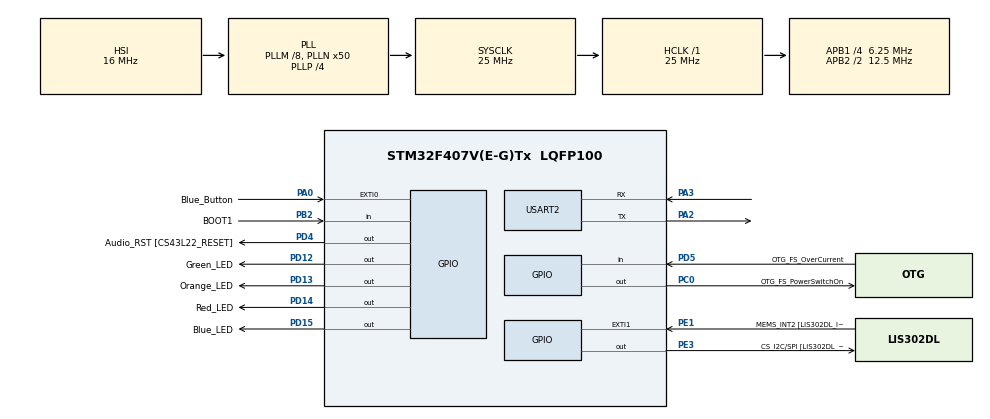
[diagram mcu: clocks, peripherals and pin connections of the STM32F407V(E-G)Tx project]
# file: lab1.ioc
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Mcu.Family=STM32F4
Mcu.Name=STM32F407V(E-G)Tx
Mcu.Package=LQFP100
NVIC.PriorityGroup=NVIC_PRIORITYGROUP_4
NVIC.TIM7_IRQn=true\:0\:0\:false\:false\:true\:false\:true\:true
NVIC.TimeBase=TIM7_IRQn
NVIC.TimeBaseIP=TIM7
PA0-WKUP.GPIO_Label=Blue_Button
PA0-WKUP.Signal=GPXTI0
PA10.GPIO_Label=OTG_FS_ID
PA10.GPIO_Mode=GPIO_MODE_AF_PP
PA10.GPIO_PuPd=GPIO_NOPULL
PA10.GPIO_Speed=GPIO_SPEED_FREQ_LOW
PA10.Signal=USB_OTG_FS_ID
PA11.GPIO_Label=OTG_FS_DM
PA11.GPIO_Mode=GPIO_MODE_AF_PP
PA11.GPIO_PuPd=GPIO_NOPULL
PA11.GPIO_Speed=GPIO_SPEED_FREQ_LOW
PA11.Signal=USB_OTG_FS_DM
PA12.GPIO_Label=OTG_FS_DP
PA12.GPIO_Mode=GPIO_MODE_AF_PP
PA12.GPIO_PuPd=GPIO_NOPULL
PA12.GPIO_Speed=GPIO_SPEED_FREQ_LOW
PA12.Signal=USB_OTG_FS_DP
PA13.GPIO_Label=SWDIO
PA13.Mode=Serial_Wire
PA13.Signal=SYS_JTMS-SWDIO
PA14.GPIO_Label=SWCLK
PA14.Mode=Serial_Wire
PA14.Signal=SYS_JTCK-SWCLK
PA2.Mode=Asynchronous
PA2.Signal=USART2_TX
PA3.Mode=Asynchronous
PA3.Signal=USART2_RX
PA4.GPIO_Label=I2S3_WS [CS43L22_LRCK]
PA4.GPIO_Mode=GPIO_MODE_AF_PP
PA4.GPIO_PuPd=GPIO_NOPULL
PA4.GPIO_Speed=GPIO_SPEED_FREQ_LOW
PA4.Signal=I2S3_WS
PA5.GPIO_Label=SPI1_SCK [LIS302DL_SCL/SPC]
PA5.GPIO_Mode=GPIO_MODE_AF_PP
PA5.GPIO_PuPd=GPIO_NOPULL
PA5.GPIO_Speed=GPIO_SPEED_FREQ_LOW
PA5.Signal=SPI1_SCK
PA6.GPIO_Label=SPI1_MISO [LIS302DL_SDO]
PA6.GPIO_Mode=GPIO_MODE_AF_PP
PA6.GPIO_PuPd=GPIO_NOPULL
PA6.GPIO_Speed=GPIO_SPEED_FREQ_LOW
PA6.Signal=SPI1_MISO
PA7.GPIO_Label=SPI1_MOSI [LIS302DL_SDA/SDI/SDO]
PA7.GPIO_Mode=GPIO_MODE_AF_PP
PA7.GPIO_PuPd=GPIO_NOPULL
PA7.GPIO_Speed=GPIO_SPEED_FREQ_LOW
PA7.Signal=SPI1_MOSI
PA9.GPIO_Label=VBUS_FS
PA9.GPIO_Mode=GPIO_MODE_INPUT
PA9.GPIO_PuPd=GPIO_NOPULL
PA9.Signal=USB_OTG_FS_VBUS
PB10.GPIO_Label=CLK_IN [MP45DT02_CLK]
PB10.GPIO_Mode=GPIO_MODE_AF_PP
PB10.GPIO_PuPd=GPIO_NOPULL
PB10.GPIO_Speed=GPIO_SPEED_FREQ_LOW
PB10.Signal=I2S2_CK
PB2.GPIO_Label=BOOT1
PB2.GPIO_Mode=GPIO_MODE_INPUT
PB2.GPIO_PuPd=GPIO_NOPULL
PB2.Signal=GPIO_Input
PB3.GPIO_Label=SWO
PB3.Signal=SYS_JTDO-SWO
PB6.GPIO_Label=Audio_SCL [CS43L22_SCL]
PB6.GPIO_Mode=GPIO_MODE_AF_OD
PB6.GPIO_PuPd=GPIO_NOPULL
PB6.GPIO_Speed=GPIO_SPEED_FREQ_LOW
PB6.Signal=I2C1_SCL
PB9.GPIO_Label=Audio_SDA [CS43L22_SDA]
PB9.GPIO_Mode=GPIO_MODE_AF_OD
PB9.GPIO_PuPd=GPIO_NOPULL
PB9.GPIO_Speed=GPIO_SPEED_FREQ_LOW
PB9.Signal=I2C1_SDA
PC0.GPIO_Label=OTG_FS_PowerSwitchOn
PC0.GPIO_PuPd=GPIO_NOPULL
PC0.GPIO_Speed=GPIO_SPEED_FREQ_LOW
PC0.PinState=GPIO_PIN_SET
PC0.Signal=GPIO_Output
PC10.GPIO_Label=I2S3_SCK [CS43L22_SCLK]
PC10.GPIO_Mode=GPIO_MODE_AF_PP
PC10.GPIO_PuPd=GPIO_NOPULL
PC10.GPIO_Speed=GPIO_SPEED_FREQ_LOW
PC10.Signal=I2S3_CK
PC12.GPIO_Label=I2S3_SD [CS43L22_SDIN]
PC12.GPIO_Mode=GPIO_MODE_AF_PP
PC12.GPIO_PuPd=GPIO_NOPULL
PC12.GPIO_Speed=GPIO_SPEED_FREQ_LOW
PC12.Signal=I2S3_SD
PC14-OSC32_IN.GPIO_Label=PC14-OSC32_IN
PC14-OSC32_IN.Signal=RCC_OSC32_IN
PC15-OSC32_OUT.GPIO_Label=PC15-OSC32_OUT
PC15-OSC32_OUT.Signal=RCC_OSC32_OUT
PC3.GPIO_Label=PDM_OUT [MP45DT02_DOUT]
PC3.GPIO_Mode=GPIO_MODE_AF_PP
PC3.GPIO_PuPd=GPIO_NOPULL
PC3.GPIO_Speed=GPIO_SPEED_FREQ_LOW
PC3.Signal=I2S2_SD
PC7.GPIO_Label=I2S3_MCK [CS43L22_MCLK]
PC7.GPIO_Mode=GPIO_MODE_AF_PP
PC7.GPIO_PuPd=GPIO_NOPULL
PC7.GPIO_Speed=GPIO_SPEED_FREQ_LOW
PC7.Signal=I2S3_MCK
PD12.GPIO_Label=Green_LED
PD12.GPIO_PuPd=GPIO_NOPULL
PD12.GPIO_Speed=GPIO_SPEED_FREQ_LOW
PD12.Signal=GPIO_Output
PD13.GPIO_Label=Orange_LED
PD13.GPIO_PuPd=GPIO_NOPULL
PD13.GPIO_Speed=GPIO_SPEED_FREQ_LOW
PD13.Signal=GPIO_Output
PD14.GPIO_Label=Red_LED
PD14.GPIO_PuPd=GPIO_NOPULL
PD14.GPIO_Speed=GPIO_SPEED_FREQ_LOW
PD14.Signal=GPIO_Output
PD15.GPIO_Label=Blue_LED
PD15.GPIO_PuPd=GPIO_NOPULL
PD15.GPIO_Speed=GPIO_SPEED_FREQ_LOW
PD15.Signal=GPIO_Output
PD4.GPIO_Label=Audio_RST [CS43L22_RESET]
PD4.GPIO_PuPd=GPIO_NOPULL
PD4.GPIO_Speed=GPIO_SPEED_FREQ_LOW
PD4.Signal=GPIO_Output
PD5.GPIO_Label=OTG_FS_OverCurrent
PD5.GPIO_Mode=GPIO_MODE_INPUT
PD5.GPIO_PuPd=GPIO_NOPULL
PD5.Signal=GPIO_Input
PE1.GPIO_Label=MEMS_INT2 [LIS302DL_INT2]
PE1.GPIO_ModeDefaultEXTI=GPIO_MODE_EVT_RISING
PE1.GPIO_PuPd=GPIO_NOPULL
PE1.Signal=GPXTI1
PE3.GPIO_Label=CS_I2C/SPI [LIS302DL_CS_I2C/SPI]
PE3.GPIO_PuPd=GPIO_NOPULL
PE3.GPIO_Speed=GPIO_SPEED_FREQ_LOW
PE3.Signal=GPIO_Output
PH0-OSC_IN.GPIO_Label=PH0-OSC_IN
PH0-OSC_IN.Signal=RCC_OSC_IN
PH1-OSC_OUT.GPIO_Label=PH1-OSC_OUT
PH1-OSC_OUT.Signal=RCC_OSC_OUT
ProjectManager.HeapSize=0x200
ProjectManager.StackSize=0x400
ProjectManager.TargetToolchain=STM32CubeIDE
RCC.48MHZClocksFreq_Value=14285714.285714285
RCC.AHBFreq_Value=25000000
RCC.APB1CLKDivider=RCC_HCLK_DIV4
RCC.APB1Freq_Value=6250000
RCC.APB1TimFreq_Value=12500000
RCC.APB2CLKDivider=RCC_HCLK_DIV2
RCC.APB2Freq_Value=12500000
RCC.APB2TimFreq_Value=25000000
RCC.CortexFreq_Value=25000000
RCC.HCLKFreq_Value=25000000
RCC.HSE_VALUE=8000000
RCC.HSI_VALUE=16000000
RCC.LSE_VALUE=32768
RCC.PLLM=8
RCC.PLLN=50
RCC.PLLP=RCC_PLLP_DIV4
RCC.PLLQ=7
RCC.SYSCLKFreq_VALUE=25000000
RCC.SYSCLKSource=RCC_SYSCLKSOURCE_PLLCLK
RCC.VCOOutputFreq_Value=100000000
USART2.VirtualMode=VM_ASYNC
VP_SYS_VS_tim7.Mode=TIM7
board=STM32F407G-DISC1

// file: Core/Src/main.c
/* USER CODE BEGIN Header */
/**
  ******************************************************************************
  * @file           : main.c
  * @brief          : Main program body
  ******************************************************************************
  * @attention
  *
  * Copyright (c) 2023 STMicroelectronics.
  * All rights reserved.
  *
  * This software is licensed under terms that can be found in the LICENSE file
  * in the root directory of this software component.
  * If no LICENSE file comes with this software, it is provided AS-IS.
  *
  ******************************************************************************
  */
/* USER CODE END Header */
#include "main.h"

/* USER CODE BEGIN Includes */
#include "FreeRTOS.h"
#include "task.h"
#include "queue.h"
#include "string.h"
/* USER CODE END Includes */

UART_HandleTypeDef huart2;

void SystemClock_Config(void);
static void MX_GPIO_Init(void);
static void MX_USART2_UART_Init(void);
/* USER CODE BEGIN PFP */
void vButtonHandler(void *pvParameters);
void vLEDHandler(void *pvParameters);

/* USER CODE END PFP */

/* USER CODE BEGIN 0 */
QueueHandle_t xQueue;
/* USER CODE END 0 */

int main(void)
{

  /* MCU Configuration--------------------------------------------------------*/

  /* Reset of all peripherals, Initializes the Flash interface and the Systick. */
  HAL_Init();

  /* Configure the system clock */
  SystemClock_Config();

  /* Initialize all configured peripherals */
  MX_GPIO_Init();
  MX_USART2_UART_Init();
  /* USER CODE BEGIN 2 */
  xQueue = xQueueCreate(1, sizeof(int));

  xTaskCreate(vLEDHandler, "LED", 128, NULL, 1, NULL);
  xTaskCreate(vButtonHandler, "BUTTON", 128, NULL, 1, NULL);
  vTaskStartScheduler();
  /* USER CODE END 2 */

  /* Infinite loop */
  while (1)
  {

  }
}

void SystemClock_Config(void)
{
  RCC_OscInitTypeDef RCC_OscInitStruct = {0};
  RCC_ClkInitTypeDef RCC_ClkInitStruct = {0};

  /** Configure the main internal regulator output voltage
  */
  __HAL_RCC_PWR_CLK_ENABLE();
  __HAL_PWR_VOLTAGESCALING_CONFIG(PWR_REGULATOR_VOLTAGE_SCALE1);

  /** Initializes the RCC Oscillators according to the specified parameters
  * in the RCC_OscInitTypeDef structure.
  */
  RCC_OscInitStruct.OscillatorType = RCC_OSCILLATORTYPE_HSI;
  RCC_OscInitStruct.HSIState = RCC_HSI_ON;
  RCC_OscInitStruct.HSICalibrationValue = RCC_HSICALIBRATION_DEFAULT;
  RCC_OscInitStruct.PLL.PLLState = RCC_PLL_ON;
  RCC_OscInitStruct.PLL.PLLSource = RCC_PLLSOURCE_HSI;
  RCC_OscInitStruct.PLL.PLLM = 8;
  RCC_OscInitStruct.PLL.PLLN = 50;
  RCC_OscInitStruct.PLL.PLLP = RCC_PLLP_DIV4;
  RCC_OscInitStruct.PLL.PLLQ = 7;
  if (HAL_RCC_OscConfig(&RCC_OscInitStruct) != HAL_OK)
  {
    Error_Handler();
  }

  /** Initializes the CPU, AHB and APB buses clocks
  */
  RCC_ClkInitStruct.ClockType = RCC_CLOCKTYPE_HCLK|RCC_CLOCKTYPE_SYSCLK
                              |RCC_CLOCKTYPE_PCLK1|RCC_CLOCKTYPE_PCLK2;
  RCC_ClkInitStruct.SYSCLKSource = RCC_SYSCLKSOURCE_PLLCLK;
  RCC_ClkInitStruct.AHBCLKDivider = RCC_SYSCLK_DIV1;
  RCC_ClkInitStruct.APB1CLKDivider = RCC_HCLK_DIV4;
  RCC_ClkInitStruct.APB2CLKDivider = RCC_HCLK_DIV2;

  if (HAL_RCC_ClockConfig(&RCC_ClkInitStruct, FLASH_LATENCY_0) != HAL_OK)
  {
    Error_Handler();
  }
}

static void MX_USART2_UART_Init(void)
{

  huart2.Instance = USART2;
  huart2.Init.BaudRate = 115200;
  huart2.Init.WordLength = UART_WORDLENGTH_8B;
  huart2.Init.StopBits = UART_STOPBITS_1;
  huart2.Init.Parity = UART_PARITY_NONE;
  huart2.Init.Mode = UART_MODE_TX_RX;
  huart2.Init.HwFlowCtl = UART_HWCONTROL_NONE;
  huart2.Init.OverSampling = UART_OVERSAMPLING_16;
  if (HAL_UART_Init(&huart2) != HAL_OK)
  {
    Error_Handler();
  }

}

static void MX_GPIO_Init(void)
{
  GPIO_InitTypeDef GPIO_InitStruct = {0};

  /* GPIO Ports Clock Enable */
  __HAL_RCC_GPIOE_CLK_ENABLE();
  __HAL_RCC_GPIOC_CLK_ENABLE();
  __HAL_RCC_GPIOH_CLK_ENABLE();
  __HAL_RCC_GPIOA_CLK_ENABLE();
  __HAL_RCC_GPIOB_CLK_ENABLE();
  __HAL_RCC_GPIOD_CLK_ENABLE();

  /*Configure GPIO pin Output Level */
  HAL_GPIO_WritePin(CS_I2C_SPI_GPIO_Port, CS_I2C_SPI_Pin, GPIO_PIN_RESET);

  /*Configure GPIO pin Output Level */
  HAL_GPIO_WritePin(OTG_FS_PowerSwitchOn_GPIO_Port, OTG_FS_PowerSwitchOn_Pin, GPIO_PIN_SET);

  /*Configure GPIO pin Output Level */
  HAL_GPIO_WritePin(GPIOD, Green_LED_Pin|Orange_LED_Pin|Red_LED_Pin|Blue_LED_Pin
                          |Audio_RST_Pin, GPIO_PIN_RESET);

  /*Configure GPIO pin : CS_I2C_SPI_Pin */
  GPIO_InitStruct.Pin = CS_I2C_SPI_Pin;
  GPIO_InitStruct.Mode = GPIO_MODE_OUTPUT_PP;
  GPIO_InitStruct.Pull = GPIO_NOPULL;
  GPIO_InitStruct.Speed = GPIO_SPEED_FREQ_LOW;
  HAL_GPIO_Init(CS_I2C_SPI_GPIO_Port, &GPIO_InitStruct);

  /*Configure GPIO pin : OTG_FS_PowerSwitchOn_Pin */
  GPIO_InitStruct.Pin = OTG_FS_PowerSwitchOn_Pin;
  GPIO_InitStruct.Mode = GPIO_MODE_OUTPUT_PP;
  GPIO_InitStruct.Pull = GPIO_NOPULL;
  GPIO_InitStruct.Speed = GPIO_SPEED_FREQ_LOW;
  HAL_GPIO_Init(OTG_FS_PowerSwitchOn_GPIO_Port, &GPIO_InitStruct);

  /*Configure GPIO pin : PDM_OUT_Pin */
  GPIO_InitStruct.Pin = PDM_OUT_Pin;
  GPIO_InitStruct.Mode = GPIO_MODE_AF_PP;
  GPIO_InitStruct.Pull = GPIO_NOPULL;
  GPIO_InitStruct.Speed = GPIO_SPEED_FREQ_LOW;
  GPIO_InitStruct.Alternate = GPIO_AF5_SPI2;
  HAL_GPIO_Init(PDM_OUT_GPIO_Port, &GPIO_InitStruct);

  /*Configure GPIO pin : Blue_Button_Pin */
  GPIO_InitStruct.Pin = Blue_Button_Pin;
  GPIO_InitStruct.Mode = GPIO_MODE_IT_RISING;
  GPIO_InitStruct.Pull = GPIO_NOPULL;
  HAL_GPIO_Init(Blue_Button_GPIO_Port, &GPIO_InitStruct);

  /*Configure GPIO pin : I2S3_WS_Pin */
  GPIO_InitStruct.Pin = I2S3_WS_Pin;
  GPIO_InitStruct.Mode = GPIO_MODE_AF_PP;
  GPIO_InitStruct.Pull = GPIO_NOPULL;
  GPIO_InitStruct.Speed = GPIO_SPEED_FREQ_LOW;
  GPIO_InitStruct.Alternate = GPIO_AF6_SPI3;
  HAL_GPIO_Init(I2S3_WS_GPIO_Port, &GPIO_InitStruct);

  /*Configure GPIO pins : SPI1_SCK_Pin SPI1_MISO_Pin SPI1_MOSI_Pin */
  GPIO_InitStruct.Pin = SPI1_SCK_Pin|SPI1_MISO_Pin|SPI1_MOSI_Pin;
  GPIO_InitStruct.Mode = GPIO_MODE_AF_PP;
  GPIO_InitStruct.Pull = GPIO_NOPULL;
  GPIO_InitStruct.Speed = GPIO_SPEED_FREQ_LOW;
  GPIO_InitStruct.Alternate = GPIO_AF5_SPI1;
  HAL_GPIO_Init(GPIOA, &GPIO_InitStruct);

  /*Configure GPIO pin : BOOT1_Pin */
  GPIO_InitStruct.Pin = BOOT1_Pin;
  GPIO_InitStruct.Mode = GPIO_MODE_INPUT;
  GPIO_InitStruct.Pull = GPIO_NOPULL;
  HAL_GPIO_Init(BOOT1_GPIO_Port, &GPIO_InitStruct);

  /*Configure GPIO pin : CLK_IN_Pin */
  GPIO_InitStruct.Pin = CLK_IN_Pin;
  GPIO_InitStruct.Mode = GPIO_MODE_AF_PP;
  GPIO_InitStruct.Pull = GPIO_NOPULL;
  GPIO_InitStruct.Speed = GPIO_SPEED_FREQ_LOW;
  GPIO_InitStruct.Alternate = GPIO_AF5_SPI2;
  HAL_GPIO_Init(CLK_IN_GPIO_Port, &GPIO_InitStruct);

  /*Configure GPIO pins : Green_LED_Pin Orange_LED_Pin Red_LED_Pin Blue_LED_Pin
                           Audio_RST_Pin */
  GPIO_InitStruct.Pin = Green_LED_Pin|Orange_LED_Pin|Red_LED_Pin|Blue_LED_Pin
                          |Audio_RST_Pin;
  GPIO_InitStruct.Mode = GPIO_MODE_OUTPUT_PP;
  GPIO_InitStruct.Pull = GPIO_NOPULL;
  GPIO_InitStruct.Speed = GPIO_SPEED_FREQ_LOW;
  HAL_GPIO_Init(GPIOD, &GPIO_InitStruct);

  /*Configure GPIO pins : I2S3_MCK_Pin I2S3_SCK_Pin I2S3_SD_Pin */
  GPIO_InitStruct.Pin = I2S3_MCK_Pin|I2S3_SCK_Pin|I2S3_SD_Pin;
  GPIO_InitStruct.Mode = GPIO_MODE_AF_PP;
  GPIO_InitStruct.Pull = GPIO_NOPULL;
  GPIO_InitStruct.Speed = GPIO_SPEED_FREQ_LOW;
  GPIO_InitStruct.Alternate = GPIO_AF6_SPI3;
  HAL_GPIO_Init(GPIOC, &GPIO_InitStruct);

  /*Configure GPIO pin : VBUS_FS_Pin */
  GPIO_InitStruct.Pin = VBUS_FS_Pin;
  GPIO_InitStruct.Mode = GPIO_MODE_INPUT;
  GPIO_InitStruct.Pull = GPIO_NOPULL;
  HAL_GPIO_Init(VBUS_FS_GPIO_Port, &GPIO_InitStruct);

  /*Configure GPIO pins : OTG_FS_ID_Pin OTG_FS_DM_Pin OTG_FS_DP_Pin */
  GPIO_InitStruct.Pin = OTG_FS_ID_Pin|OTG_FS_DM_Pin|OTG_FS_DP_Pin;
  GPIO_InitStruct.Mode = GPIO_MODE_AF_PP;
  GPIO_InitStruct.Pull = GPIO_NOPULL;
  GPIO_InitStruct.Speed = GPIO_SPEED_FREQ_LOW;
  GPIO_InitStruct.Alternate = GPIO_AF10_OTG_FS;
  HAL_GPIO_Init(GPIOA, &GPIO_InitStruct);

  /*Configure GPIO pin : OTG_FS_OverCurrent_Pin */
  GPIO_InitStruct.Pin = OTG_FS_OverCurrent_Pin;
  GPIO_InitStruct.Mode = GPIO_MODE_INPUT;
  GPIO_InitStruct.Pull = GPIO_NOPULL;
  HAL_GPIO_Init(OTG_FS_OverCurrent_GPIO_Port, &GPIO_InitStruct);

  /*Configure GPIO pins : Audio_SCL_Pin Audio_SDA_Pin */
  GPIO_InitStruct.Pin = Audio_SCL_Pin|Audio_SDA_Pin;
  GPIO_InitStruct.Mode = GPIO_MODE_AF_OD;
  GPIO_InitStruct.Pull = GPIO_NOPULL;
  GPIO_InitStruct.Speed = GPIO_SPEED_FREQ_LOW;
  GPIO_InitStruct.Alternate = GPIO_AF4_I2C1;
  HAL_GPIO_Init(GPIOB, &GPIO_InitStruct);

  /*Configure GPIO pin : MEMS_INT2_Pin */
  GPIO_InitStruct.Pin = MEMS_INT2_Pin;
  GPIO_InitStruct.Mode = GPIO_MODE_EVT_RISING;
  GPIO_InitStruct.Pull = GPIO_NOPULL;
  HAL_GPIO_Init(MEMS_INT2_GPIO_Port, &GPIO_InitStruct);

}

/* USER CODE BEGIN 4 */

void vButtonHandler(void *pvParameters) {
    static uint16_t buttonState = 0;
    static unsigned int LEDstate = 0;

    while (1) {
    	buttonState = (buttonState << 1) | HAL_GPIO_ReadPin(Blue_Button_GPIO_Port, GPIO_PIN_0) | 0xFE00;

        if (buttonState == 0xFF00) {
        	LEDstate ^= 1;
        	xQueueSend(xQueue, (int *) &LEDstate, 1);
        }

        vTaskDelay(10);
    }
}

void vLEDHandler(void *pvParameters){
	static unsigned int receivedMsg = 0;
	while (1) {
		xQueueReceive(xQueue, &receivedMsg, 1);
		if (receivedMsg == 0) {
			STATE0:
				HAL_GPIO_TogglePin(Green_LED_GPIO_Port, GPIO_PIN_12);
				xQueueReceive(xQueue, &receivedMsg, 2000);
				HAL_GPIO_TogglePin(Green_LED_GPIO_Port, GPIO_PIN_12);

				if (receivedMsg == 1) {
					goto STATE1;
				}

				HAL_GPIO_TogglePin(Red_LED_GPIO_Port, GPIO_PIN_14);
				xQueueReceive(xQueue, &receivedMsg, 2000);
				HAL_GPIO_TogglePin(Red_LED_GPIO_Port, GPIO_PIN_14);

				if (receivedMsg == 1) {
					goto STATE1;
				}
		}
		if (receivedMsg == 1) {
			STATE1:
				HAL_GPIO_TogglePin(Orange_LED_GPIO_Port, GPIO_PIN_13);
				xQueueReceive(xQueue, &receivedMsg, 1000);
				HAL_GPIO_TogglePin(Orange_LED_GPIO_Port, GPIO_PIN_13);
				xQueueReceive(xQueue, &receivedMsg, 1000);

				if (receivedMsg == 0) {
					goto STATE0;
				}
		}
	}
}

/* USER CODE END 4 */

void HAL_TIM_PeriodElapsedCallback(TIM_HandleTypeDef *htim)
{
  if (htim->Instance == TIM7) {
    HAL_IncTick();
  }
}

void Error_Handler(void)
{
  __disable_irq();
  while (1)
  {
  }
}
